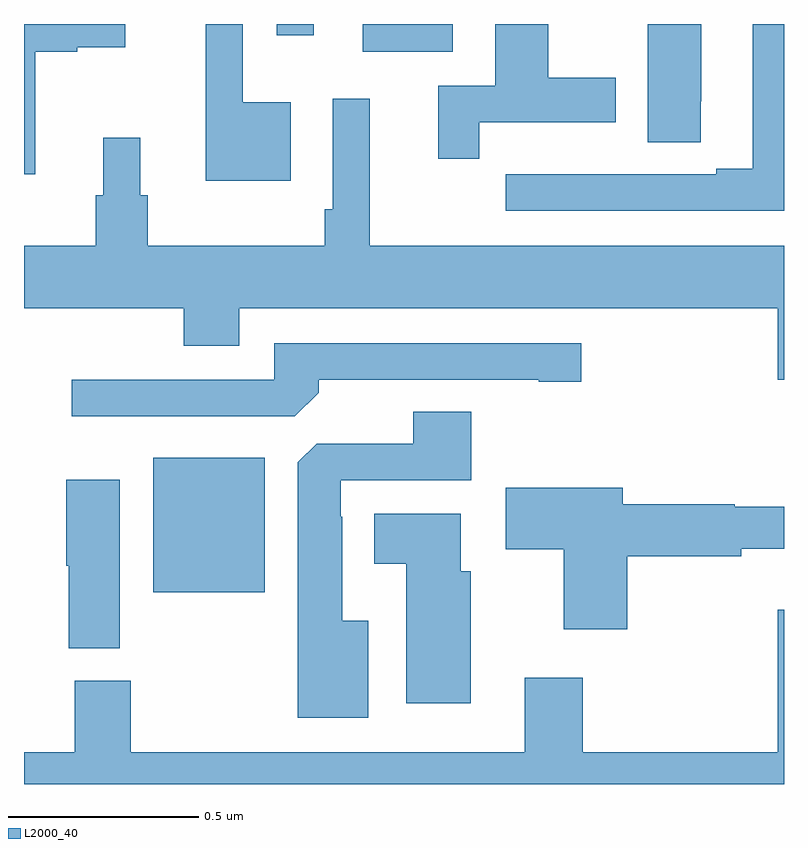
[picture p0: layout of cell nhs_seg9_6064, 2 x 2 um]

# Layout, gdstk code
import gdstk
lib = gdstk.Library(unit=1e-6, precision=1e-09)
def R(c, l, rs):  # rectangles x0, y0, x1, y1
    for r in rs: c.add(gdstk.rectangle(r[:2], r[2:], *l))
def P(c, l, *ps):  # polygons
    for p in ps: c.add(gdstk.Polygon(p, *l))
L2000_40 = (2000, 40)

nhs_seg9_6064 = lib.new_cell('nhs_seg9_6064')
R(nhs_seg9_6064, L2000_40, [(187.34,1197.005,187.633,1197.358), (187.892,1198.427,188.128,1198.5), (187.665,1198.47,187.762,1198.5)])
P(nhs_seg9_6064, L2000_40, [(188.781,1198.297),(188.782,1198.297),(188.782,1198.5),(188.642,1198.5),(188.642,1198.189),(188.781,1198.189)],
  [(187.702,1198.294),(187.575,1198.294),(187.575,1198.5),(187.478,1198.5),(187.478,1198.088),(187.702,1198.088)],
  [(187.03,1198.427),(187.14,1198.427),(187.14,1198.439),(187.267,1198.439),(187.267,1198.5),(187,1198.5),(187,1198.104),(187.03,1198.104)],
  [(189,1198.5),(188.918,1198.5),(188.918,1198.119),(188.822,1198.119),(188.822,1198.104),(188.546,1198.104),(188.546,1198.105),(188.38,1198.105),(188.38,1198.104),(188.268,1198.104),(188.268,1198.008),(189,1198.008)],
  [(188.198,1198.242),(188.557,1198.242),(188.557,1198.359),(188.38,1198.359),(188.38,1198.5),(188.24,1198.5),(188.24,1198.338),(188.09,1198.338),(188.09,1198.146),(188.198,1198.146)],
  [(189,1197.916),(187.91,1197.916),(187.91,1198.303),(187.812,1198.303),(187.812,1198.012),(187.792,1198.012),(187.792,1197.916),(187.325,1197.916),(187.325,1198.05),(187.306,1198.05),(187.306,1198.201),(187.208,1198.201),(187.208,1198.05),(187.189,1198.05),(187.189,1197.916),(187,1197.916),(187,1197.752),(187.42,1197.752),(187.42,1197.653),(187.567,1197.653),(187.567,1197.752),(188.984,1197.752),(188.984,1197.564),(189,1197.564)],
  [(187.775,1197.53),(187.775,1197.564),(188.354,1197.564),(188.354,1197.559),(188.467,1197.559),(188.467,1197.66),(187.659,1197.66),(187.659,1197.564),(187.125,1197.564),(187.125,1197.468),(187.713,1197.468)],
  [(187.906,1196.929),(187.837,1196.929),(187.837,1197.203),(187.833,1197.203),(187.833,1197.3),(188.177,1197.3),(188.177,1197.479),(188.024,1197.479),(188.024,1197.396),(187.77,1197.396),(187.721,1197.347),(187.721,1196.675),(187.906,1196.675)],
  [(187.252,1197.301),(187.111,1197.301),(187.111,1197.075),(187.118,1197.075),(187.118,1196.857),(187.252,1196.857)],
  [(188.588,1197.1),(188.888,1197.1),(188.888,1197.119),(189,1197.119),(189,1197.229),(188.871,1197.229),(188.871,1197.236),(188.575,1197.236),(188.575,1197.28),(188.268,1197.28),(188.268,1197.118),(188.42,1197.118),(188.42,1196.907),(188.588,1196.907)],
  [(188.176,1197.06),(188.149,1197.06),(188.149,1197.211),(187.922,1197.211),(187.922,1197.08),(188.006,1197.08),(188.006,1196.712),(188.176,1196.712)],
  [(189,1196.959),(188.984,1196.959),(188.984,1196.584),(188.471,1196.584),(188.471,1196.779),(188.318,1196.779),(188.318,1196.584),(187.281,1196.584),(187.281,1196.772),(187.133,1196.772),(187.133,1196.584),(187,1196.584),(187,1196.5),(189,1196.5)])

lib.write_gds('nhs_seg9_6064.gds')
